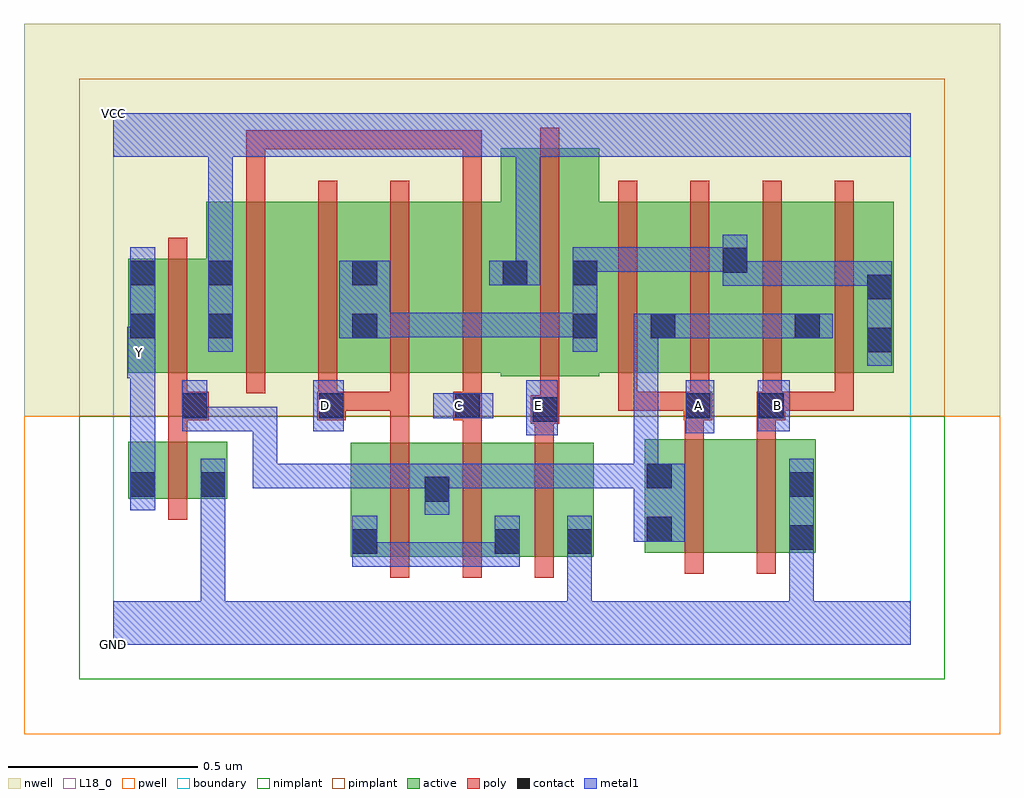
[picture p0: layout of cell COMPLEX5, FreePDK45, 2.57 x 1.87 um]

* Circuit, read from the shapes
.subckt COMPLEX5 A B C D E GND VCC Y
M1 GND n1 Y VSUBS nfet w=0.15u l=0.05u
M2 n1 D n2 VSUBS nfet w=0.3u l=0.05u
M3 n2 C n1 VSUBS nfet w=0.3u l=0.05u
M4 GND E n2 VSUBS nfet w=0.3u l=0.05u
M5 n3 A n1 VSUBS nfet w=0.3u l=0.05u
M6 GND B n3 VSUBS nfet w=0.3u l=0.05u
M7 VCC n1 Y n4 pfet w=0.3u l=0.05u
M8 n5 C VCC n4 pfet w=0.45u l=0.05u
M9 n6 D n5 n4 pfet w=0.45u l=0.05u
M10 n7 D n6 n4 pfet w=0.45u l=0.05u
M11 VCC C n7 n4 pfet w=0.45u l=0.05u
M12 n6 E VCC n4 pfet w=0.6u l=0.05u
M13 n1 A n6 n4 pfet w=0.45u l=0.05u m=2
M14 n1 B n6 n4 pfet w=0.45u l=0.05u m=2
.ends

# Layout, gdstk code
import gdstk
lib = gdstk.Library(unit=1e-6, precision=1e-09)
def R(c, l, rs):  # rectangles x0, y0, x1, y1
    for r in rs: c.add(gdstk.rectangle(r[:2], r[2:], *l))
def A(c, l, x, y, w, h, nx, ny, dx, dy):  # array of equal rectangles
    R(c, l, [(x+i*dx, y+j*dy, x+i*dx+w, y+j*dy+h) for i in range(nx) for j in range(ny)])
active = (1, 0)
pwell = (2, 0)
nwell = (3, 0)
nimplant = (4, 0)
pimplant = (5, 0)
poly = (9, 0)
contact = (10, 0)
metal1 = (11, 0)
L18_0 = (18, 0)
boundary = (235, 0)

complex5 = lib.new_cell('COMPLEX5')
A(complex5, active, 1.41, 0.717, 0.265, 0.45, 3, 1, 0.19, 0)
R(complex5, active, [(0.625,0.232,0.7,0.532), (0.625,0.232,0.89,0.532), (0.815,0.232,1.075,0.532), (1,0.232,1.265,0.532), (1.19,0.232,1.265,0.532), (1,0.235,1.075,0.392), (1.4,0.242,1.625,0.542), (1.625,0.242,1.85,0.542), (1.775,0.245,1.85,0.542), (0.815,0.247,0.89,0.447), (1.4,0.247,1.475,0.542), (0.04,0.385,0.115,0.535), (0.04,0.385,0.3,0.535), (0.225,0.385,0.3,0.535), (1.02,0.707,1.28,1.307), (0.04,0.717,0.115,1.017), (0.04,0.717,0.32,1.017), (0.245,0.717,0.47,1.167), (0.245,0.717,0.32,1.167), (0.47,0.717,0.7,1.167), (0.625,0.717,0.85,1.167), (0.625,0.717,0.7,1.167), (0.85,0.717,1.095,1.167), (1.205,0.717,1.485,1.167), (1.205,0.717,1.28,1.2), (1.41,0.717,1.485,1.07), (1.79,0.717,1.865,1.07), (1.98,0.717,2.055,1.107), (1.02,0.782,1.095,1.107), (1.6,0.857,1.675,1.107)])
R(complex5, pwell, [(-0.235,-0.235,2.335,0.602)])
R(complex5, nwell, [(-0.235,0.602,2.335,1.635)])
R(complex5, nimplant, [(-0.09,-0.09,2.19,0.602)])
R(complex5, pimplant, [(-0.09,0.602,2.19,1.49)])
A(complex5, poly, 0.73, 0.177, 0.05, 0.41, 3, 1, 0.19, 0)
A(complex5, poly, 0.54, 0.617, 0.05, 0.095, 3, 1, 0.19, 0)
A(complex5, poly, 1.33, 0.617, 0.05, 0.095, 4, 1, 0.19, 0)
A(complex5, poly, 0.35, 0.662, 0.05, 0.56, 4, 1, 0.19, 0)
A(complex5, poly, 1.33, 0.662, 0.05, 0.56, 4, 1, 0.19, 0)
R(complex5, poly, [(1.505,0.187,1.555,0.597), (1.695,0.187,1.745,0.597), (0.145,0.33,0.195,0.59), (0.73,0.537,0.78,0.667), (0.92,0.537,0.97,0.642), (1.11,0.537,1.16,0.632), (0.145,0.54,0.195,0.642), (1.505,0.547,1.555,0.642), (1.695,0.547,1.745,0.642), (1.1,0.582,1.175,0.657), (0.145,0.592,0.252,0.667), (0.537,0.592,0.612,0.667), (0.895,0.592,0.97,0.667), (1.502,0.592,1.577,0.667), (1.695,0.592,1.77,0.667), (1.125,0.607,1.175,0.702), (0.145,0.617,0.195,0.712), (0.562,0.617,0.612,0.667), (0.562,0.617,0.612,0.667), (0.562,0.617,0.78,0.667), (0.73,0.617,0.78,0.667), (1.33,0.617,1.38,0.667), (1.33,0.617,1.552,0.667), (1.502,0.617,1.552,0.667), (1.502,0.617,1.552,0.667), (1.72,0.617,1.95,0.667), (1.9,0.617,1.95,0.667), (1.9,0.617,1.95,0.667), (1.9,0.617,1.95,0.667), (1.125,0.652,1.175,1.362), (0.145,0.662,0.195,1.072), (0.35,1.172,0.4,1.355), (0.92,1.172,0.97,1.355), (0.35,1.305,0.4,1.355), (0.35,1.305,0.4,1.355), (0.35,1.305,0.4,1.355), (0.35,1.305,0.57,1.355), (0.52,1.305,0.57,1.355), (0.52,1.305,0.57,1.355), (0.52,1.305,0.57,1.355), (0.52,1.305,0.812,1.355), (0.762,1.305,0.812,1.355), (0.762,1.305,0.97,1.355), (0.92,1.305,0.97,1.355), (0.92,1.305,0.97,1.355), (0.92,1.305,0.97,1.355)])
R(complex5, contact, [(0.63,0.24,0.695,0.305), (1.005,0.24,1.07,0.305), (1.195,0.24,1.26,0.305), (1.78,0.25,1.845,0.315), (1.405,0.272,1.47,0.337), (0.82,0.377,0.885,0.442), (0.045,0.39,0.11,0.455), (0.23,0.39,0.295,0.455), (1.78,0.39,1.845,0.455), (1.405,0.412,1.47,0.477), (1.105,0.587,1.17,0.652), (0.182,0.597,0.247,0.662), (0.542,0.597,0.607,0.662), (0.9,0.597,0.965,0.662), (1.507,0.597,1.572,0.662), (1.7,0.597,1.765,0.662), (1.985,0.77,2.05,0.835), (0.045,0.807,0.11,0.872), (0.25,0.807,0.315,0.872), (0.63,0.807,0.695,0.872), (1.21,0.807,1.275,0.872), (1.415,0.807,1.48,0.872), (1.795,0.807,1.86,0.872), (1.985,0.91,2.05,0.975), (0.045,0.947,0.11,1.012), (0.25,0.947,0.315,1.012), (0.63,0.947,0.695,1.012), (1.025,0.947,1.09,1.012), (1.21,0.947,1.275,1.012), (1.605,0.98,1.67,1.045)])
R(complex5, metal1, [(0,0,2.1,0.115), (0.23,0.05,0.295,0.42), (1.195,0.05,1.26,0.27), (1.78,0.05,1.845,0.28), (0.63,0.205,0.695,0.27), (0.63,0.205,0.695,0.27), (0.63,0.205,0.695,0.34), (0.63,0.205,0.917,0.27), (0.852,0.205,0.917,0.27), (0.852,0.205,0.917,0.27), (0.852,0.205,0.917,0.27), (0.852,0.205,1.07,0.27), (1.005,0.205,1.07,0.34), (1.195,0.205,1.26,0.27), (1.195,0.205,1.26,0.27), (1.195,0.205,1.26,0.34), (1.78,0.215,1.845,0.28), (1.78,0.215,1.845,0.28), (1.78,0.215,1.845,0.49), (1.37,0.272,1.505,0.477), (0.82,0.342,0.885,0.477), (0.045,0.355,0.11,0.49), (0.23,0.355,0.295,0.42), (0.23,0.355,0.295,0.42), (0.23,0.355,0.295,0.42), (0.23,0.355,0.295,0.42), (0.23,0.355,0.295,0.49), (0.367,0.412,0.432,0.477), (0.367,0.412,0.522,0.477), (0.367,0.412,0.432,0.627), (0.457,0.412,0.522,0.477), (0.457,0.412,0.66,0.477), (0.595,0.412,0.66,0.477), (0.595,0.412,0.66,0.477), (0.595,0.412,0.66,0.477), (0.595,0.412,0.885,0.477), (0.82,0.412,0.885,0.477), (0.82,0.412,0.885,0.477), (0.82,0.412,1.122,0.477), (1.057,0.412,1.122,0.477), (1.057,0.412,1.122,0.477), (1.057,0.412,1.122,0.477), (1.057,0.412,1.267,0.477), (1.202,0.412,1.267,0.477), (1.202,0.412,1.267,0.477), (1.202,0.412,1.267,0.477), (1.202,0.412,1.435,0.477), (1.37,0.412,1.435,0.477), (1.37,0.412,1.435,0.477), (1.37,0.412,1.435,0.872), (0.045,0.425,0.11,0.767), (1.087,0.552,1.17,0.697), (1.507,0.557,1.582,0.697), (0.182,0.562,0.247,0.627), (0.182,0.562,0.247,0.627), (0.182,0.562,0.385,0.627), (0.182,0.562,0.247,0.697), (0.32,0.562,0.385,0.627), (0.32,0.562,0.432,0.627), (0.367,0.562,0.432,0.627), (0.527,0.562,0.607,0.697), (1.697,0.562,1.782,0.697), (0.842,0.597,1,0.662), (0.037,0.702,0.11,0.837), (1.985,0.735,2.05,1.01), (0.045,0.772,0.11,0.837), (0.045,0.772,0.11,1.047), (0.25,0.772,0.315,1.047), (1.21,0.772,1.275,1.047), (0.595,0.807,0.73,1.012), (1.37,0.807,1.515,0.872), (1.45,0.807,1.515,0.872), (1.45,0.807,1.515,0.872), (1.45,0.807,1.687,0.872), (1.622,0.807,1.687,0.872), (1.622,0.807,1.687,0.872), (1.622,0.807,1.687,0.872), (1.622,0.807,1.825,0.872), (1.76,0.807,1.895,0.872), (0.665,0.81,0.73,0.875), (0.665,0.81,0.73,0.875), (0.665,0.81,0.917,0.875), (0.852,0.81,0.917,0.875), (0.852,0.81,0.917,0.875), (0.852,0.81,0.917,0.875), (0.852,0.81,1.055,0.875), (0.99,0.81,1.055,0.875), (0.99,0.81,1.055,0.875), (0.99,0.81,1.055,0.875), (0.99,0.81,1.275,0.875), (1.605,0.945,1.912,1.01), (1.605,0.945,1.67,1.08), (1.847,0.945,1.912,1.01), (1.847,0.945,1.912,1.01), (1.847,0.945,1.912,1.01), (1.847,0.945,2.05,1.01), (1.985,0.945,2.05,1.01), (1.985,0.945,2.05,1.01), (0.99,0.947,1.125,1.012), (1.06,0.947,1.125,1.35), (0.25,0.982,0.315,1.35), (1.21,0.982,1.275,1.047), (1.21,0.982,1.275,1.047), (1.21,0.982,1.275,1.047), (1.21,0.982,1.275,1.047), (1.21,0.982,1.532,1.047), (1.467,0.982,1.532,1.047), (1.467,0.982,1.532,1.047), (1.467,0.982,1.532,1.047), (1.467,0.982,1.67,1.047), (0,1.285,2.1,1.4), (0.25,1.285,0.315,1.35), (0.25,1.285,0.315,1.35)])
R(complex5, L18_0, [(0,0,2.1,0.115), (0.23,0.05,0.295,0.42), (1.195,0.05,1.26,0.27), (1.78,0.05,1.845,0.28), (1.195,0.205,1.26,0.34), (1.195,0.205,1.26,0.27), (1.195,0.205,1.26,0.27), (1.78,0.215,1.845,0.49), (1.78,0.215,1.845,0.28), (1.78,0.215,1.845,0.28), (0.045,0.355,0.11,0.49), (0.23,0.355,0.295,0.49), (0.23,0.355,0.295,0.42), (0.23,0.355,0.295,0.42), (0.23,0.355,0.295,0.42), (0.23,0.355,0.295,0.42), (0.045,0.425,0.11,0.767), (1.087,0.552,1.17,0.697), (1.507,0.557,1.582,0.697), (0.527,0.562,0.607,0.697), (1.697,0.562,1.782,0.697), (0.527,0.597,0.592,0.662), (0.842,0.597,1,0.662), (0.877,0.597,0.942,0.662), (1.087,0.597,1.152,0.662), (1.507,0.597,1.572,0.662), (1.717,0.597,1.782,0.662), (0.037,0.702,0.11,0.837), (0.037,0.737,0.102,0.802), (0.045,0.772,0.11,1.047), (0.045,0.772,0.11,0.837), (0.25,0.772,0.315,1.047), (0.99,0.947,1.125,1.012), (1.06,0.947,1.125,1.35), (0.25,0.982,0.315,1.35), (0,1.285,2.1,1.4), (0.25,1.285,0.315,1.35), (0.25,1.285,0.315,1.35)])
R(complex5, boundary, [(0,0,2.1,1.4)])
complex5.add(gdstk.Label('A', (1.54,0.63), layer=11, texttype=0))
complex5.add(gdstk.Label('B', (1.75,0.63), layer=11, texttype=0))
complex5.add(gdstk.Label('C', (0.91,0.63), layer=11, texttype=0))
complex5.add(gdstk.Label('D', (0.56,0.63), layer=11, texttype=0))
complex5.add(gdstk.Label('E', (1.12,0.63), layer=11, texttype=0))
complex5.add(gdstk.Label('Y', (0.07,0.77), layer=11, texttype=0))
complex5.add(gdstk.Label('VCC', (0,1.4), layer=11, texttype=0))
complex5.add(gdstk.Label('GND', (0,0), layer=11, texttype=0))

lib.write_gds('COMPLEX5.gds')
